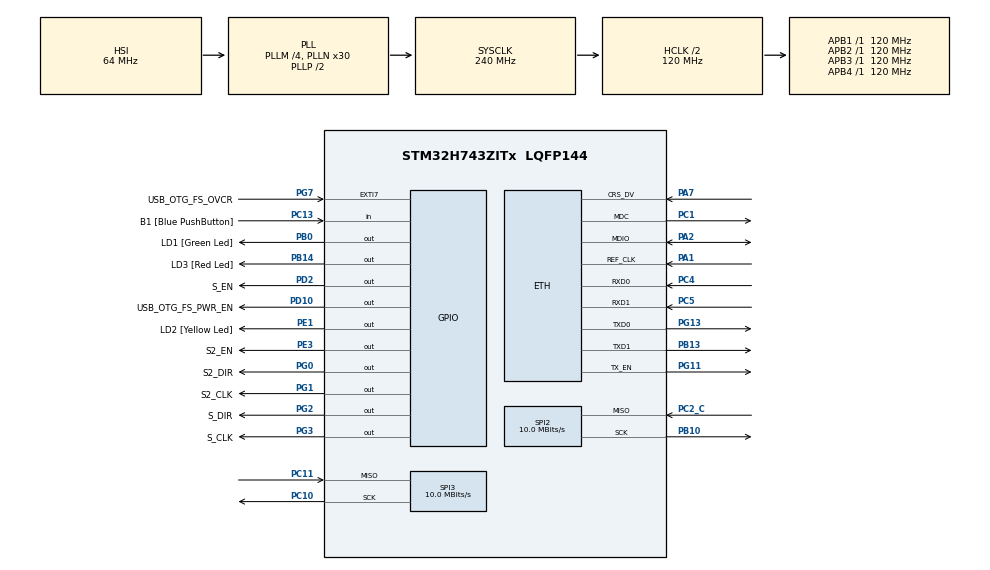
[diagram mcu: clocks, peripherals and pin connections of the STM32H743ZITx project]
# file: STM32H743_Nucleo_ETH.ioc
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CORTEX_M7.AccessPermission_S-Cortex_Memory_Protection_Unit_Region1_Settings_S=MPU_REGION_FULL_ACCESS
CORTEX_M7.AccessPermission_S-Cortex_Memory_Protection_Unit_Region2_Settings_S=MPU_REGION_FULL_ACCESS
CORTEX_M7.BaseAddress_S-Cortex_Memory_Protection_Unit_Region1_Settings_S=0x30020000
CORTEX_M7.BaseAddress_S-Cortex_Memory_Protection_Unit_Region2_Settings_S=0x30040000
CORTEX_M7.CPU_DCache=Enabled
CORTEX_M7.CPU_ICache=Enabled
CORTEX_M7.DisableExec_S-Cortex_Memory_Protection_Unit_Region1_Settings_S=MPU_INSTRUCTION_ACCESS_DISABLE
CORTEX_M7.DisableExec_S-Cortex_Memory_Protection_Unit_Region2_Settings_S=MPU_INSTRUCTION_ACCESS_DISABLE
CORTEX_M7.Enable_S-Cortex_Memory_Protection_Unit_Region1_Settings_S=MPU_REGION_ENABLE
CORTEX_M7.Enable_S-Cortex_Memory_Protection_Unit_Region2_Settings_S=MPU_REGION_ENABLE
CORTEX_M7.IsBufferable_S-Cortex_Memory_Protection_Unit_Region2_Settings_S=MPU_ACCESS_BUFFERABLE
CORTEX_M7.IsShareable_S-Cortex_Memory_Protection_Unit_Region2_Settings_S=MPU_ACCESS_SHAREABLE
CORTEX_M7.Size_S-Cortex_Memory_Protection_Unit_Region1_Settings_S=MPU_REGION_SIZE_128KB
CORTEX_M7.Size_S-Cortex_Memory_Protection_Unit_Region2_Settings_S=MPU_REGION_SIZE_512B
CORTEX_M7.TypeExtField_S-Cortex_Memory_Protection_Unit_Region1_Settings_S=MPU_TEX_LEVEL1
CORTEX_M7.default_mode_Activation=1
ETH.MediaInterface=HAL_ETH_RMII_MODE
ETH.RxBuffLen=1536
ETH.RxDescAddress=0x30040000
ETH.TxDescAddress=0x30040200
FREERTOS.Tasks01=defaultTask,24,512,StartDefaultTask,Default,NULL,Dynamic,NULL,NULL
FREERTOS.configCHECK_FOR_STACK_OVERFLOW=1
FREERTOS.configMINIMAL_STACK_SIZE=512
FREERTOS.configTOTAL_HEAP_SIZE=30*1024
FREERTOS.configUSE_NEWLIB_REENTRANT=1
LWIP.BSP.number=1
LWIP.DEFAULT_THREAD_STACKSIZE=2048
LWIP.IP_ADDRESS=192.168.001.010
LWIP.LWIP_DHCP=0
LWIP.LWIP_RAM_HEAP_POINTER=0x30020000
LWIP.MEM_SIZE=131048
LWIP.NETMASK_ADDRESS=255.255.255.000
LWIP.PBUF_POOL_BUFSIZE=592
LWIP.TCPIP_THREAD_STACKSIZE=2048
LWIP.TCP_MSS=1460
LWIP.TCP_SND_BUF=5840
LWIP.TCP_SND_QUEUELEN=16
LWIP.Version=v2.1.2_Cube
LWIP0.BSP.STBoard=false
LWIP0.BSP.api=BSP_COMPONENT_DRIVER
LWIP0.BSP.component=LAN8742
LWIP0.BSP.instance=LAN8742
LWIP0.BSP.name=Driver_PHY
LWIP0.BSP.semaphore=S_LAN8742
LWIP0.BSP.solution=LAN8742
Mcu.Family=STM32H7
Mcu.Name=STM32H743ZITx
Mcu.Package=LQFP144
NVIC.ETH_IRQn=true\:5\:0\:false\:false\:true\:true\:true\:true\:true
NVIC.EXTI9_5_IRQn=true\:5\:0\:false\:false\:true\:true\:true\:true\:true
NVIC.PriorityGroup=NVIC_PRIORITYGROUP_4
NVIC.SPI2_IRQn=true\:5\:0\:true\:false\:true\:false\:true\:true\:true
NVIC.SPI3_IRQn=true\:5\:0\:false\:false\:true\:false\:true\:true\:true
NVIC.TIM4_IRQn=true\:5\:0\:false\:false\:true\:false\:true\:true\:true
NVIC.TIM5_IRQn=true\:5\:0\:false\:false\:true\:false\:true\:true\:true
NVIC.TIM6_DAC_IRQn=true\:15\:0\:false\:false\:true\:false\:false\:true\:true
NVIC.TimeBase=TIM6_DAC_IRQn
NVIC.TimeBaseIP=TIM6
PA1.GPIO_Speed=GPIO_SPEED_FREQ_VERY_HIGH
PA1.Mode=RMII
PA1.Signal=ETH_REF_CLK
PA11.Signal=USB_OTG_FS_DM
PA12.Signal=USB_OTG_FS_DP
PA2.GPIO_Speed=GPIO_SPEED_FREQ_VERY_HIGH
PA2.Mode=RMII
PA2.Signal=ETH_MDIO
PA7.GPIO_Speed=GPIO_SPEED_FREQ_VERY_HIGH
PA7.Mode=RMII
PA7.Signal=ETH_CRS_DV
PA8.Signal=USB_OTG_FS_SOF
PA9.Signal=USB_OTG_FS_VBUS
PB0.GPIO_Label=LD1 [Green Led]
PB0.Signal=GPIO_Output
PB10.GPIO_Speed=GPIO_SPEED_FREQ_VERY_HIGH
PB10.Mode=RX_Only_Simplex_Unidirect_Master
PB10.Signal=SPI2_SCK
PB13.GPIO_Speed=GPIO_SPEED_FREQ_VERY_HIGH
PB13.Mode=RMII
PB13.Signal=ETH_TXD1
PB14.GPIO_Label=LD3 [Red Led]
PB14.Signal=GPIO_Output
PC1.GPIO_Speed=GPIO_SPEED_FREQ_VERY_HIGH
PC1.Mode=RMII
PC1.Signal=ETH_MDC
PC10.GPIO_Speed=GPIO_SPEED_FREQ_VERY_HIGH
PC10.Mode=RX_Only_Simplex_Unidirect_Master
PC10.Signal=SPI3_SCK
PC11.GPIO_Speed=GPIO_SPEED_FREQ_VERY_HIGH
PC11.Mode=RX_Only_Simplex_Unidirect_Master
PC11.Signal=SPI3_MISO
PC13.GPIO_Label=B1 [Blue PushButton]
PC13.Signal=GPIO_Input
PC14-OSC32_IN\ (OSC32_IN).Signal=RCC_OSC32_IN
PC15-OSC32_OUT\ (OSC32_OUT).Signal=RCC_OSC32_OUT
PC2_C.GPIO_Speed=GPIO_SPEED_FREQ_VERY_HIGH
PC2_C.Mode=RX_Only_Simplex_Unidirect_Master
PC2_C.Signal=SPI2_MISO
PC4.GPIO_Speed=GPIO_SPEED_FREQ_VERY_HIGH
PC4.Mode=RMII
PC4.Signal=ETH_RXD0
PC5.GPIO_Speed=GPIO_SPEED_FREQ_VERY_HIGH
PC5.Mode=RMII
PC5.Signal=ETH_RXD1
PD10.GPIO_Label=USB_OTG_FS_PWR_EN
PD10.Signal=GPIO_Output
PD2.GPIO_Label=S_EN
PD2.Signal=GPIO_Output
PD8.GPIO_Label=STLINK_RX
PD8.Signal=USART3_TX
PD9.GPIO_Label=STLINK_TX
PD9.Signal=USART3_RX
PE1.GPIO_Label=LD2 [Yellow Led]
PE1.Signal=GPIO_Output
PE3.GPIO_Label=S2_EN
PE3.Signal=GPIO_Output
PG0.GPIO_Label=S2_DIR
PG0.Signal=GPIO_Output
PG1.GPIO_Label=S2_CLK
PG1.Signal=GPIO_Output
PG11.GPIO_Speed=GPIO_SPEED_FREQ_VERY_HIGH
PG11.Mode=RMII
PG11.Signal=ETH_TX_EN
PG13.GPIO_Speed=GPIO_SPEED_FREQ_VERY_HIGH
PG13.Mode=RMII
PG13.Signal=ETH_TXD0
PG2.GPIO_Label=S_DIR
PG2.Signal=GPIO_Output
PG3.GPIO_Label=S_CLK
PG3.Signal=GPIO_Output
PG7.GPIO_Label=USB_OTG_FS_OVCR
PG7.Signal=GPXTI7
PH0-OSC_IN\ (PH0).Signal=RCC_OSC_IN
PH1-OSC_OUT\ (PH1).Signal=RCC_OSC_OUT
ProjectManager.HeapSize=0x200
ProjectManager.StackSize=0x400
ProjectManager.TargetToolchain=STM32CubeIDE
RCC.ADCFreq_Value=129000000
RCC.APB1Freq_Value=120000000
RCC.APB2Freq_Value=120000000
RCC.APB3Freq_Value=120000000
RCC.APB4Freq_Value=120000000
RCC.CortexFreq_Value=240000000
RCC.DIVM1=4
RCC.DIVN1=30
RCC.DIVQ1=6
RCC.HCLKFreq_Value=120000000
RCC.HPRE=RCC_HCLK_DIV2
RCC.PLL2FRACN=0
RCC.PLL3FRACN=0
RCC.PLLFRACN=0
RCC.SYSCLKFreq_VALUE=240000000
RCC.SYSCLKSource=RCC_SYSCLKSOURCE_PLLCLK
RCC.USBFreq_Value=80000000
SPI2.BaudRatePrescaler=SPI_BAUDRATEPRESCALER_8
SPI2.CalculateBaudRate=10.0 MBits/s
SPI2.DataSize=SPI_DATASIZE_8BIT
SPI2.Direction=SPI_DIRECTION_2LINES_RXONLY
SPI2.Mode=SPI_MODE_MASTER
SPI2.NSSPMode=SPI_NSS_PULSE_DISABLE
SPI2.VirtualType=VM_MASTER
SPI3.BaudRatePrescaler=SPI_BAUDRATEPRESCALER_8
SPI3.CalculateBaudRate=10.0 MBits/s
SPI3.DataSize=SPI_DATASIZE_8BIT
SPI3.Direction=SPI_DIRECTION_2LINES_RXONLY
SPI3.MasterKeepIOState=SPI_MASTER_KEEP_IO_STATE_ENABLE
SPI3.Mode=SPI_MODE_MASTER
SPI3.NSSPMode=SPI_NSS_PULSE_DISABLE
SPI3.VirtualType=VM_MASTER
TIM4.Period=500-1
TIM4.Prescaler=60-1
TIM5.Period=100-1
TIM5.Prescaler=120-1
VP_FREERTOS_VS_CMSIS_V2.Mode=CMSIS_V2
VP_LWIP_VS_Enabled.Mode=Enabled
VP_SYS_VS_tim6.Mode=TIM6
VP_TIM4_VS_ClockSourceINT.Mode=Internal
VP_TIM5_VS_ClockSourceINT.Mode=Internal
board=NUCLEO-H743ZI2

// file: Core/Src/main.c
/* USER CODE BEGIN Header */
/**
  ******************************************************************************
  * @file           : main.c
  * @brief          : Main program body
  ******************************************************************************
  * @attention
  *
  * Copyright (c) 2022 STMicroelectronics.
  * All rights reserved.
  *
  * This software is licensed under terms that can be found in the LICENSE file
  * in the root directory of this software component.
  * If no LICENSE file comes with this software, it is provided AS-IS.
  *
  ******************************************************************************
  */
/* USER CODE END Header */
#include "main.h"
#include "cmsis_os.h"
#include "lwip.h"

/* USER CODE BEGIN Includes */
/* ETH_CODE: add lwiperf, see comment in StartDefaultTask function */
#include "lwip/apps/lwiperf.h"
#include "lwip/api.h"
//#include "lwip/udp.h"
#include <string.h>
#include <math.h>
#include "cjson.h"
#include <stdlib.h>
#include "config.hpp"
#include <measurement/encoder_data.hpp>
#include "irq_callbacks.hpp"
/* USER CODE END Includes */

/* USER CODE BEGIN PD */
#define BUF_LEN 30
#define ENC_FRAME_BYTES 5
#define BUF_POS_LEN 100000
/* USER CODE END PD */

SPI_HandleTypeDef hspi2;
SPI_HandleTypeDef hspi3;

TIM_HandleTypeDef htim4;
TIM_HandleTypeDef htim5;

/* Definitions for defaultTask */
osThreadId_t defaultTaskHandle;
const osThreadAttr_t defaultTask_attributes = {
  .name = "defaultTask",
  .stack_size = 512 * 4,
  .priority = (osPriority_t) osPriorityNormal,
};
/* USER CODE BEGIN PV */
/* Definitions for defaultTask */
osThreadId_t echoTaskHandle;

const osThreadAttr_t echoTask_attributes = {
  .name = "echoTask",
  .stack_size = 512 * 40,
  .priority = (osPriority_t) osPriorityNormal,
};
DataPosition dataA = {{0}, 0};
DataPosition dataB = {{0}, 0};
DataError dataErrorA = {{0}, 0};
DataError dataErrorB = {{0}, 0};
float amplitudeA = 1.0;
float amplitudeB = 1.0;
double testValue = 0.0;
int isFetching = 0;
int isEngineEnabled = 0;
int mode = 0;

uint8_t buff[BUF_LEN];
uint8_t buff2[ENC_FRAME_BYTES];
int pos[BUF_POS_LEN];
uint32_t cntP = 0;

union EncFrame dataEnc;
uint8_t crcOk = 0;
union CrcFrame dataNoCrc;
uint8_t crcC;
uint8_t isAckDetected = 0;
uint8_t isStartDeteted = 0;
uint8_t startBuf = 0;
uint8_t shift = 0;

double posAngle = 0;
uint32_t cntErr = 0;
uint8_t isTransfer = 0;
HAL_StatusTypeDef code;

/* Engine control data -------------------------------------------------------*/

uint8_t directionToSet = 0;
uint8_t currentDirection = 0;

uint8_t enableToSet = 0;
uint8_t isEnabled = 0;

uint8_t isClocked = 0;

uint8_t frequencyPrescaler = 9; // frequency divider (+1)
uint32_t cntFreq = 0;

/* Controller data -----------------------------------------------------------*/
uint32_t desiredPos = 20000000;
uint32_t desiredPosB = 30000000;
int posiError = 0;
int32_t deadZoneRange = 100;
uint32_t kp = 3000; // formally its 1/kp
double u = 0.0;
uint32_t u_floor = 0;
uint32_t u_sat = 0;
uint32_t uMax = 9;

/* Trajectory generator data--------------------------------------------------*/
uint32_t cntSin = 0;
uint32_t desiredPosConst = 2e+7;
uint8_t trajMode = 0;
uint8_t isTrajInit = 0;
/* USER CODE END PV */

void SystemClock_Config(void);
static void MPU_Config(void);
static void MX_GPIO_Init(void);
static void MX_SPI3_Init(void);
static void MX_TIM5_Init(void);
static void MX_TIM4_Init(void);
static void MX_SPI2_Init(void);
void StartDefaultTask(void *argument);

/* USER CODE BEGIN PFP */
void StartEchoTask(void *argument);
void push(DataPosition* data, uint32_t value) {
	if (data->position < ARRAY_SIZE) {
		data->array[data->position] = value;
		data->position++;
	}
}

void clear(DataPosition* data) {
	data->position = 0;
}

void clearError(DataError* data) {
	data->position = 0;
}

void pushError(DataError* data, int value) {
	if (data->position < ARRAY_SIZE) {
		data->array[data->position] = value;
		data->position++;
	}
}
/* USER CODE END PFP */

int main(void)
{

  /* MPU Configuration--------------------------------------------------------*/
  MPU_Config();

  /* Enable I-Cache---------------------------------------------------------*/
  SCB_EnableICache();

  /* Enable D-Cache---------------------------------------------------------*/
  SCB_EnableDCache();

  /* MCU Configuration--------------------------------------------------------*/

  /* Reset of all peripherals, Initializes the Flash interface and the Systick. */
  HAL_Init();

  /* Configure the system clock */
  SystemClock_Config();

  /* Initialize all configured peripherals */
  MX_GPIO_Init();
  MX_SPI3_Init();
  MX_SPI2_Init();
  MX_TIM5_Init();
  MX_TIM4_Init();

  /* Init scheduler */
  osKernelInitialize();

  /* Create the thread(s) */
  /* creation of defaultTask */
  defaultTaskHandle = osThreadNew(StartDefaultTask, NULL, &defaultTask_attributes);

  /* Start scheduler */
  osKernelStart();

  /* We should never get here as control is now taken by the scheduler */
  /* Infinite loop */
  /* USER CODE BEGIN WHILE */
  dataEnc.all = 0;
  while (1)
  {
    /* USER CODE END WHILE */

  }
}

void SystemClock_Config(void)
{
  RCC_OscInitTypeDef RCC_OscInitStruct = {0};
  RCC_ClkInitTypeDef RCC_ClkInitStruct = {0};

  /** Supply configuration update enable
  */
  HAL_PWREx_ConfigSupply(PWR_LDO_SUPPLY);

  /** Configure the main internal regulator output voltage
  */
  __HAL_PWR_VOLTAGESCALING_CONFIG(PWR_REGULATOR_VOLTAGE_SCALE2);

  while(!__HAL_PWR_GET_FLAG(PWR_FLAG_VOSRDY)) {}

  /** Initializes the RCC Oscillators according to the specified parameters
  * in the RCC_OscInitTypeDef structure.
  */
  RCC_OscInitStruct.OscillatorType = RCC_OSCILLATORTYPE_HSI;
  RCC_OscInitStruct.HSIState = RCC_HSI_DIV1;
  RCC_OscInitStruct.HSICalibrationValue = RCC_HSICALIBRATION_DEFAULT;
  RCC_OscInitStruct.PLL.PLLState = RCC_PLL_ON;
  RCC_OscInitStruct.PLL.PLLSource = RCC_PLLSOURCE_HSI;
  RCC_OscInitStruct.PLL.PLLM = 4;
  RCC_OscInitStruct.PLL.PLLN = 30;
  RCC_OscInitStruct.PLL.PLLP = 2;
  RCC_OscInitStruct.PLL.PLLQ = 6;
  RCC_OscInitStruct.PLL.PLLR = 2;
  RCC_OscInitStruct.PLL.PLLRGE = RCC_PLL1VCIRANGE_3;
  RCC_OscInitStruct.PLL.PLLVCOSEL = RCC_PLL1VCOWIDE;
  RCC_OscInitStruct.PLL.PLLFRACN = 0;
  if (HAL_RCC_OscConfig(&RCC_OscInitStruct) != HAL_OK)
  {
    Error_Handler();
  }

  /** Initializes the CPU, AHB and APB buses clocks
  */
  RCC_ClkInitStruct.ClockType = RCC_CLOCKTYPE_HCLK|RCC_CLOCKTYPE_SYSCLK
                              |RCC_CLOCKTYPE_PCLK1|RCC_CLOCKTYPE_PCLK2
                              |RCC_CLOCKTYPE_D3PCLK1|RCC_CLOCKTYPE_D1PCLK1;
  RCC_ClkInitStruct.SYSCLKSource = RCC_SYSCLKSOURCE_PLLCLK;
  RCC_ClkInitStruct.SYSCLKDivider = RCC_SYSCLK_DIV1;
  RCC_ClkInitStruct.AHBCLKDivider = RCC_HCLK_DIV2;
  RCC_ClkInitStruct.APB3CLKDivider = RCC_APB3_DIV1;
  RCC_ClkInitStruct.APB1CLKDivider = RCC_APB1_DIV1;
  RCC_ClkInitStruct.APB2CLKDivider = RCC_APB2_DIV1;
  RCC_ClkInitStruct.APB4CLKDivider = RCC_APB4_DIV1;

  if (HAL_RCC_ClockConfig(&RCC_ClkInitStruct, FLASH_LATENCY_2) != HAL_OK)
  {
    Error_Handler();
  }
}

static void MX_SPI2_Init(void)
{

  /* SPI2 parameter configuration*/
  hspi2.Instance = SPI2;
  hspi2.Init.Mode = SPI_MODE_MASTER;
  hspi2.Init.Direction = SPI_DIRECTION_2LINES_RXONLY;
  hspi2.Init.DataSize = SPI_DATASIZE_8BIT;
  hspi2.Init.CLKPolarity = SPI_POLARITY_LOW;
  hspi2.Init.CLKPhase = SPI_PHASE_1EDGE;
  hspi2.Init.NSS = SPI_NSS_SOFT;
  hspi2.Init.BaudRatePrescaler = SPI_BAUDRATEPRESCALER_8;
  hspi2.Init.FirstBit = SPI_FIRSTBIT_MSB;
  hspi2.Init.TIMode = SPI_TIMODE_DISABLE;
  hspi2.Init.CRCCalculation = SPI_CRCCALCULATION_DISABLE;
  hspi2.Init.CRCPolynomial = 0x0;
  hspi2.Init.NSSPMode = SPI_NSS_PULSE_DISABLE;
  hspi2.Init.NSSPolarity = SPI_NSS_POLARITY_LOW;
  hspi2.Init.FifoThreshold = SPI_FIFO_THRESHOLD_01DATA;
  hspi2.Init.TxCRCInitializationPattern = SPI_CRC_INITIALIZATION_ALL_ZERO_PATTERN;
  hspi2.Init.RxCRCInitializationPattern = SPI_CRC_INITIALIZATION_ALL_ZERO_PATTERN;
  hspi2.Init.MasterSSIdleness = SPI_MASTER_SS_IDLENESS_00CYCLE;
  hspi2.Init.MasterInterDataIdleness = SPI_MASTER_INTERDATA_IDLENESS_00CYCLE;
  hspi2.Init.MasterReceiverAutoSusp = SPI_MASTER_RX_AUTOSUSP_DISABLE;
  hspi2.Init.MasterKeepIOState = SPI_MASTER_KEEP_IO_STATE_DISABLE;
  hspi2.Init.IOSwap = SPI_IO_SWAP_DISABLE;
  if (HAL_SPI_Init(&hspi2) != HAL_OK)
  {
    Error_Handler();
  }

}

static void MX_SPI3_Init(void)
{

  /* SPI3 parameter configuration*/
  hspi3.Instance = SPI3;
  hspi3.Init.Mode = SPI_MODE_MASTER;
  hspi3.Init.Direction = SPI_DIRECTION_2LINES_RXONLY;
  hspi3.Init.DataSize = SPI_DATASIZE_8BIT;
  hspi3.Init.CLKPolarity = SPI_POLARITY_LOW;
  hspi3.Init.CLKPhase = SPI_PHASE_1EDGE;
  hspi3.Init.NSS = SPI_NSS_SOFT;
  hspi3.Init.BaudRatePrescaler = SPI_BAUDRATEPRESCALER_8;
  hspi3.Init.FirstBit = SPI_FIRSTBIT_MSB;
  hspi3.Init.TIMode = SPI_TIMODE_DISABLE;
  hspi3.Init.CRCCalculation = SPI_CRCCALCULATION_DISABLE;
  hspi3.Init.CRCPolynomial = 0x0;
  hspi3.Init.NSSPMode = SPI_NSS_PULSE_DISABLE;
  hspi3.Init.NSSPolarity = SPI_NSS_POLARITY_LOW;
  hspi3.Init.FifoThreshold = SPI_FIFO_THRESHOLD_01DATA;
  hspi3.Init.TxCRCInitializationPattern = SPI_CRC_INITIALIZATION_ALL_ZERO_PATTERN;
  hspi3.Init.RxCRCInitializationPattern = SPI_CRC_INITIALIZATION_ALL_ZERO_PATTERN;
  hspi3.Init.MasterSSIdleness = SPI_MASTER_SS_IDLENESS_00CYCLE;
  hspi3.Init.MasterInterDataIdleness = SPI_MASTER_INTERDATA_IDLENESS_00CYCLE;
  hspi3.Init.MasterReceiverAutoSusp = SPI_MASTER_RX_AUTOSUSP_DISABLE;
  hspi3.Init.MasterKeepIOState = SPI_MASTER_KEEP_IO_STATE_ENABLE;
  hspi3.Init.IOSwap = SPI_IO_SWAP_DISABLE;
  if (HAL_SPI_Init(&hspi3) != HAL_OK)
  {
    Error_Handler();
  }

}

static void MX_TIM4_Init(void)
{

  TIM_ClockConfigTypeDef sClockSourceConfig = {0};
  TIM_MasterConfigTypeDef sMasterConfig = {0};

  htim4.Instance = TIM4;
  htim4.Init.Prescaler = 60-1;
  htim4.Init.CounterMode = TIM_COUNTERMODE_UP;
  htim4.Init.Period = 500-1;
  htim4.Init.ClockDivision = TIM_CLOCKDIVISION_DIV1;
  htim4.Init.AutoReloadPreload = TIM_AUTORELOAD_PRELOAD_DISABLE;
  if (HAL_TIM_Base_Init(&htim4) != HAL_OK)
  {
    Error_Handler();
  }
  sClockSourceConfig.ClockSource = TIM_CLOCKSOURCE_INTERNAL;
  if (HAL_TIM_ConfigClockSource(&htim4, &sClockSourceConfig) != HAL_OK)
  {
    Error_Handler();
  }
  sMasterConfig.MasterOutputTrigger = TIM_TRGO_RESET;
  sMasterConfig.MasterSlaveMode = TIM_MASTERSLAVEMODE_DISABLE;
  if (HAL_TIMEx_MasterConfigSynchronization(&htim4, &sMasterConfig) != HAL_OK)
  {
    Error_Handler();
  }
  /* USER CODE BEGIN TIM4_Init 2 */
  HAL_NVIC_SetPriority(TIM4_IRQn, 0, 0);
  HAL_NVIC_EnableIRQ(TIM4_IRQn);
  HAL_TIM_Base_Start_IT(&htim4);
  /* USER CODE END TIM4_Init 2 */

}

static void MX_TIM5_Init(void)
{

  TIM_ClockConfigTypeDef sClockSourceConfig = {0};
  TIM_MasterConfigTypeDef sMasterConfig = {0};

  htim5.Instance = TIM5;
  htim5.Init.Prescaler = 120-1;
  htim5.Init.CounterMode = TIM_COUNTERMODE_UP;
  htim5.Init.Period = 100-1;
  htim5.Init.ClockDivision = TIM_CLOCKDIVISION_DIV1;
  htim5.Init.AutoReloadPreload = TIM_AUTORELOAD_PRELOAD_DISABLE;
  if (HAL_TIM_Base_Init(&htim5) != HAL_OK)
  {
    Error_Handler();
  }
  sClockSourceConfig.ClockSource = TIM_CLOCKSOURCE_INTERNAL;
  if (HAL_TIM_ConfigClockSource(&htim5, &sClockSourceConfig) != HAL_OK)
  {
    Error_Handler();
  }
  sMasterConfig.MasterOutputTrigger = TIM_TRGO_RESET;
  sMasterConfig.MasterSlaveMode = TIM_MASTERSLAVEMODE_DISABLE;
  if (HAL_TIMEx_MasterConfigSynchronization(&htim5, &sMasterConfig) != HAL_OK)
  {
    Error_Handler();
  }
  /* USER CODE BEGIN TIM5_Init 2 */
  HAL_NVIC_SetPriority(TIM5_IRQn, 0, 0);
  HAL_NVIC_EnableIRQ(TIM5_IRQn);
  HAL_TIM_Base_Start_IT(&htim5);
  /* USER CODE END TIM5_Init 2 */

}

static void MX_GPIO_Init(void)
{
  GPIO_InitTypeDef GPIO_InitStruct = {0};

  /* GPIO Ports Clock Enable */
  __HAL_RCC_GPIOE_CLK_ENABLE();
  __HAL_RCC_GPIOC_CLK_ENABLE();
  __HAL_RCC_GPIOH_CLK_ENABLE();
  __HAL_RCC_GPIOA_CLK_ENABLE();
  __HAL_RCC_GPIOB_CLK_ENABLE();
  __HAL_RCC_GPIOG_CLK_ENABLE();
  __HAL_RCC_GPIOD_CLK_ENABLE();

  /*Configure GPIO pin Output Level */
  HAL_GPIO_WritePin(GPIOE, S2_EN_Pin|LD2_Pin, GPIO_PIN_RESET);

  /*Configure GPIO pin Output Level */
  HAL_GPIO_WritePin(GPIOB, LD1_Pin|LD3_Pin, GPIO_PIN_RESET);

  /*Configure GPIO pin Output Level */
  HAL_GPIO_WritePin(GPIOG, S2_DIR_Pin|S2_CLK_Pin|S_DIR_Pin|S_CLK_Pin, GPIO_PIN_RESET);

  /*Configure GPIO pin Output Level */
  HAL_GPIO_WritePin(GPIOD, USB_OTG_FS_PWR_EN_Pin|S_EN_Pin, GPIO_PIN_RESET);

  /*Configure GPIO pins : S2_EN_Pin LD2_Pin */
  GPIO_InitStruct.Pin = S2_EN_Pin|LD2_Pin;
  GPIO_InitStruct.Mode = GPIO_MODE_OUTPUT_PP;
  GPIO_InitStruct.Pull = GPIO_NOPULL;
  GPIO_InitStruct.Speed = GPIO_SPEED_FREQ_LOW;
  HAL_GPIO_Init(GPIOE, &GPIO_InitStruct);

  /*Configure GPIO pin : B1_Pin */
  GPIO_InitStruct.Pin = B1_Pin;
  GPIO_InitStruct.Mode = GPIO_MODE_INPUT;
  GPIO_InitStruct.Pull = GPIO_NOPULL;
  HAL_GPIO_Init(B1_GPIO_Port, &GPIO_InitStruct);

  /*Configure GPIO pins : LD1_Pin LD3_Pin */
  GPIO_InitStruct.Pin = LD1_Pin|LD3_Pin;
  GPIO_InitStruct.Mode = GPIO_MODE_OUTPUT_PP;
  GPIO_InitStruct.Pull = GPIO_NOPULL;
  GPIO_InitStruct.Speed = GPIO_SPEED_FREQ_LOW;
  HAL_GPIO_Init(GPIOB, &GPIO_InitStruct);

  /*Configure GPIO pins : S2_DIR_Pin S2_CLK_Pin S_DIR_Pin S_CLK_Pin */
  GPIO_InitStruct.Pin = S2_DIR_Pin|S2_CLK_Pin|S_DIR_Pin|S_CLK_Pin;
  GPIO_InitStruct.Mode = GPIO_MODE_OUTPUT_PP;
  GPIO_InitStruct.Pull = GPIO_NOPULL;
  GPIO_InitStruct.Speed = GPIO_SPEED_FREQ_LOW;
  HAL_GPIO_Init(GPIOG, &GPIO_InitStruct);

  /*Configure GPIO pins : STLINK_RX_Pin STLINK_TX_Pin */
  GPIO_InitStruct.Pin = STLINK_RX_Pin|STLINK_TX_Pin;
  GPIO_InitStruct.Mode = GPIO_MODE_AF_PP;
  GPIO_InitStruct.Pull = GPIO_NOPULL;
  GPIO_InitStruct.Speed = GPIO_SPEED_FREQ_LOW;
  GPIO_InitStruct.Alternate = GPIO_AF7_USART3;
  HAL_GPIO_Init(GPIOD, &GPIO_InitStruct);

  /*Configure GPIO pins : USB_OTG_FS_PWR_EN_Pin S_EN_Pin */
  GPIO_InitStruct.Pin = USB_OTG_FS_PWR_EN_Pin|S_EN_Pin;
  GPIO_InitStruct.Mode = GPIO_MODE_OUTPUT_PP;
  GPIO_InitStruct.Pull = GPIO_NOPULL;
  GPIO_InitStruct.Speed = GPIO_SPEED_FREQ_LOW;
  HAL_GPIO_Init(GPIOD, &GPIO_InitStruct);

  /*Configure GPIO pin : USB_OTG_FS_OVCR_Pin */
  GPIO_InitStruct.Pin = USB_OTG_FS_OVCR_Pin;
  GPIO_InitStruct.Mode = GPIO_MODE_IT_RISING;
  GPIO_InitStruct.Pull = GPIO_NOPULL;
  HAL_GPIO_Init(USB_OTG_FS_OVCR_GPIO_Port, &GPIO_InitStruct);

  /*Configure GPIO pins : PA8 PA11 PA12 */
  GPIO_InitStruct.Pin = GPIO_PIN_8|GPIO_PIN_11|GPIO_PIN_12;
  GPIO_InitStruct.Mode = GPIO_MODE_AF_PP;
  GPIO_InitStruct.Pull = GPIO_NOPULL;
  GPIO_InitStruct.Speed = GPIO_SPEED_FREQ_LOW;
  GPIO_InitStruct.Alternate = GPIO_AF10_OTG1_FS;
  HAL_GPIO_Init(GPIOA, &GPIO_InitStruct);

  /* EXTI interrupt init*/
  HAL_NVIC_SetPriority(EXTI9_5_IRQn, 5, 0);
  HAL_NVIC_EnableIRQ(EXTI9_5_IRQn);

}

/* USER CODE BEGIN 4 */
void StartEchoTask(void *argument)
{
  struct netconn *conn, *newconn;
  err_t err, accept_err;
  struct netbuf *buf;
  void *data;
  u16_t len;

  LWIP_UNUSED_ARG(argument);

  conn = netconn_new(NETCONN_TCP);

  if (conn != NULL) {
    err = netconn_bind(conn, NULL, 5003);

    if (err == ERR_OK) {
      netconn_listen(conn);

      while (1) {
        accept_err = netconn_accept(conn, &newconn);

        if (accept_err == ERR_OK) {
          while (netconn_recv(newconn, &buf) == ERR_OK) {
            do {
              netbuf_data(buf, &data, &len);
              cJSON *jsonReceived = cJSON_Parse(data);
              if (jsonReceived != NULL) {
			  cJSON *isFetchingItem = cJSON_GetObjectItemCaseSensitive(jsonReceived, "isFetching");
				if (cJSON_IsNumber(isFetchingItem)) {
				  isFetching = isFetchingItem->valueint;
				}

			 cJSON *isEngineEnabledItem = cJSON_GetObjectItemCaseSensitive(jsonReceived, "isEngineEnabled");
				if (cJSON_IsNumber(isEngineEnabledItem)) {
				  isEngineEnabled = isEngineEnabledItem->valueint;
				  HAL_GPIO_WritePin(S_EN_GPIO_Port, S_EN_Pin, isEngineEnabled == 1);
				  HAL_GPIO_WritePin(S2_EN_GPIO_Port, S2_EN_Pin, isEngineEnabled == 1);
				}

              cJSON *positionXItem = cJSON_GetObjectItemCaseSensitive(jsonReceived, "positionX");
              if (cJSON_IsNumber(positionXItem)) {
            	  desiredPos = positionXItem->valueint;
              }

              cJSON *positionYItem = cJSON_GetObjectItemCaseSensitive(jsonReceived, "positionY");
				if (cJSON_IsNumber(positionYItem)) {
				  desiredPosB = positionYItem->valueint;
				}

			cJSON *modeItem = cJSON_GetObjectItemCaseSensitive(jsonReceived, "mode");
				if (cJSON_IsNumber(modeItem)) {
					mode = modeItem->valueint;
				}

              cJSON_Delete(jsonReceived);
              }

              cJSON *jsonObject = cJSON_CreateObject();
              cJSON *jsonArrayA = cJSON_CreateArray();
              for (int i = 0; i < dataA.position; i++) {
                     cJSON_AddItemToArray(jsonArrayA, cJSON_CreateNumber(dataA.array[i]));
              }
              cJSON_AddItemToObject(jsonObject, "dataX", jsonArrayA);
              clear(&dataA);

              cJSON *jsonArrayErrorA = cJSON_CreateArray();
              for (int i = 0; i < dataErrorA.position; i++) {
            	  cJSON_AddItemToArray(jsonArrayErrorA, cJSON_CreateNumber(dataErrorA.array[i]));
              }
              cJSON_AddItemToObject(jsonObject, "dataErrorX", jsonArrayErrorA);
              clearError(&dataErrorA);

              cJSON *jsonArrayErrorB = cJSON_CreateArray();
              for (int i = 0; i < dataErrorB.position; i++) {
            	  cJSON_AddItemToArray(jsonArrayErrorB, cJSON_CreateNumber(dataErrorB.array[i]));
              }
              cJSON_AddItemToObject(jsonObject, "dataErrorY", jsonArrayErrorB);
              clearError(&dataErrorB);

              cJSON *jsonArrayB = cJSON_CreateArray();
              for (int i = 0; i < dataB.position; i++) {
                      cJSON_AddItemToArray(jsonArrayB, cJSON_CreateNumber(dataB.array[i]));
              }
              cJSON_AddItemToObject(jsonObject, "dataY", jsonArrayB);
              clear(&dataB);

              char *jsonStringifiedSend = cJSON_PrintUnformatted(jsonObject);
              netconn_write(newconn, jsonStringifiedSend, strlen(jsonStringifiedSend), NETCONN_COPY);
              cJSON_Delete(jsonObject);
			  free(jsonStringifiedSend);
            }
            while (netbuf_next(buf) >= 0);
            netbuf_delete(buf);
          }

          netconn_close(newconn);
          netconn_delete(newconn);
        }
      }
    }
    else {
      netconn_delete(newconn);
    }
  }
}
/* USER CODE END 4 */

void StartDefaultTask(void *argument)
{
  /* init code for LWIP */
  MX_LWIP_Init();
  /* USER CODE BEGIN 5 */
  echoTaskHandle = osThreadNew(StartEchoTask, NULL, &echoTask_attributes);
//  /* ETH_CODE: Adding lwiperf to measure TCP/IP performance.
//   * iperf 2.0.6 (or older?) is required for the tests. Newer iperf2 versions
//   * might work without data check, but they send different headers.
//   * iperf3 is not compatible at all.
//   * Adding lwiperf.c file to the project is necessary.
//   * The default include path should already contain
//   * 'lwip/apps/lwiperf.h'
//   */
  LOCK_TCPIP_CORE();
  lwiperf_start_tcp_server_default(NULL, NULL);

//  ip4_addr_t remote_addr;
//  IP4_ADDR(&remote_addr, 192, 168, 1, 111);
//  lwiperf_start_tcp_client_default(&remote_addr, NULL, NULL);
  UNLOCK_TCPIP_CORE();
  /* Infinite loop */
  for(;;)
  {
//	  double sinValue = amplitudeA*sin(M_PI * testValue);
//	  double cosValue = amplitudeB*cos(M_PI * testValue);
//	  if (isFetching == 1) {
//		  push(&dataA, sinValue);
//		  push(&dataB, cosValue);
//	  }
//
//	  testValue += 0.1;
//      osDelay(osKernelGetTickFreq() / 10);
	  osDelay(10000000);
  }
  /* USER CODE END 5 */
}

/* MPU Configuration */

void MPU_Config(void)
{
  MPU_Region_InitTypeDef MPU_InitStruct = {0};

  /* Disables the MPU */
  HAL_MPU_Disable();

  /** Initializes and configures the Region and the memory to be protected
  */
  MPU_InitStruct.Enable = MPU_REGION_ENABLE;
  MPU_InitStruct.Number = MPU_REGION_NUMBER0;
  MPU_InitStruct.BaseAddress = 0x0;
  MPU_InitStruct.Size = MPU_REGION_SIZE_4GB;
  MPU_InitStruct.SubRegionDisable = 0x87;
  MPU_InitStruct.TypeExtField = MPU_TEX_LEVEL0;
  MPU_InitStruct.AccessPermission = MPU_REGION_NO_ACCESS;
  MPU_InitStruct.DisableExec = MPU_INSTRUCTION_ACCESS_DISABLE;
  MPU_InitStruct.IsShareable = MPU_ACCESS_SHAREABLE;
  MPU_InitStruct.IsCacheable = MPU_ACCESS_NOT_CACHEABLE;
  MPU_InitStruct.IsBufferable = MPU_ACCESS_NOT_BUFFERABLE;

  HAL_MPU_ConfigRegion(&MPU_InitStruct);

  /** Initializes and configures the Region and the memory to be protected
  */
  MPU_InitStruct.Number = MPU_REGION_NUMBER1;
  MPU_InitStruct.BaseAddress = 0x30020000;
  MPU_InitStruct.Size = MPU_REGION_SIZE_128KB;
  MPU_InitStruct.SubRegionDisable = 0x0;
  MPU_InitStruct.TypeExtField = MPU_TEX_LEVEL1;
  MPU_InitStruct.AccessPermission = MPU_REGION_FULL_ACCESS;
  MPU_InitStruct.IsShareable = MPU_ACCESS_NOT_SHAREABLE;

  HAL_MPU_ConfigRegion(&MPU_InitStruct);

  /** Initializes and configures the Region and the memory to be protected
  */
  MPU_InitStruct.Number = MPU_REGION_NUMBER2;
  MPU_InitStruct.BaseAddress = 0x30040000;
  MPU_InitStruct.Size = MPU_REGION_SIZE_512B;
  MPU_InitStruct.TypeExtField = MPU_TEX_LEVEL0;
  MPU_InitStruct.IsShareable = MPU_ACCESS_SHAREABLE;
  MPU_InitStruct.IsBufferable = MPU_ACCESS_BUFFERABLE;

  HAL_MPU_ConfigRegion(&MPU_InitStruct);
  /* Enables the MPU */
  HAL_MPU_Enable(MPU_PRIVILEGED_DEFAULT);

}

void HAL_TIM_PeriodElapsedCallback(TIM_HandleTypeDef *htim)
{
  if (htim->Instance == TIM6) {
    HAL_IncTick();
  }
}

void Error_Handler(void)
{
  __disable_irq();
  while (1)
  {
  }
}
